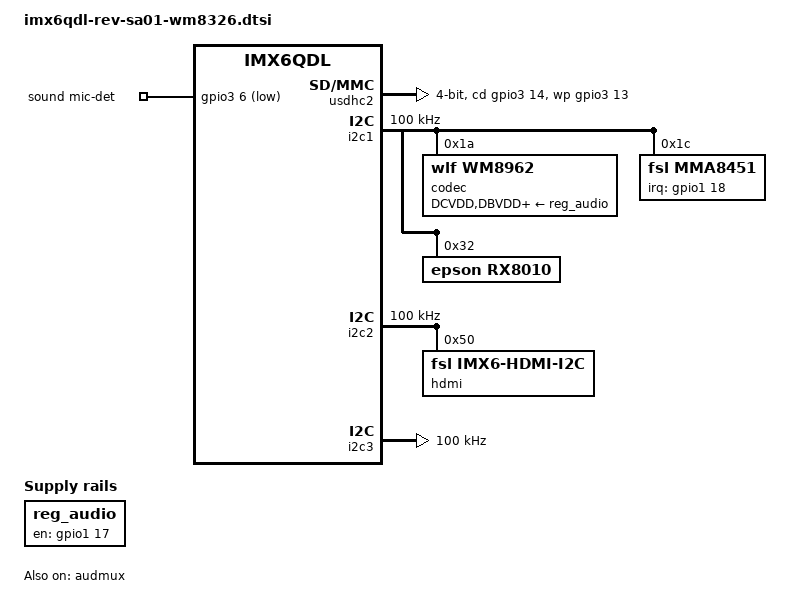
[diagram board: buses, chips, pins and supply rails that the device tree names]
/ {
	regulators {
		reg_audio: wm8962_supply {
			compatible = "regulator-fixed";
			regulator-name = "wm8962-supply";
			gpio = <&gpio1 17 0>;
			enable-active-high;
		};
	};

	sound {
		compatible =	"fsl,imx6q-sabresd-wm8962",
				"fsl,imx-audio-wm8962";
		model = "wm8962-audio";
		cpu-dai = <&ssi2>;
		audio-codec = <&codec>;
		audio-routing =
			"Headphone Jack", "HPOUTL",
			"Headphone Jack", "HPOUTR",
			"Ext Spk", "SPKOUTL",
			"Ext Spk", "SPKOUTR",
			"MICBIAS", "AMIC",
			"IN3R", "MICBIAS",
			"DMIC", "MICBIAS",
			"DMICDAT", "DMIC";
			mux-int-port = <2>;
			mux-ext-port = <3>;
			mic-det-gpios = <&gpio3 6 1>;
	};
};

&audmux {
	pinctrl-names = "default";
	pinctrl-0 = <&pinctrl_audmux>;
	status = "okay";
};

&usdhc2 {
	pinctrl-names = "default";
	pinctrl-0 = <&pinctrl_usdhc2>;
	bus-width = <4>;
	cd-gpios = <&gpio3 14 0>;
	wp-gpios = <&gpio3 13 0>;
	no-1-8-v;
	keep-power-in-suspend;
	enable-sdio-wakeup;
	status = "okay";
};

&i2c1 {
	clock-frequency = <100000>;
        pinctrl-names = "default";
        pinctrl-0 = <&pinctrl_i2c1>;
        status = "okay";

	codec: wm8962@1a {
		compatible = "wlf,wm8962";
		reg = <0x1a>;
		clocks = <&clks 201>;
		DCVDD-supply = <&reg_audio>;
		DBVDD-supply = <&reg_audio>;
		AVDD-supply = <&reg_audio>;
		CPVDD-supply = <&reg_audio>;
		MICVDD-supply = <&reg_audio>;
		PLLVDD-supply = <&reg_audio>;
		SPKVDD1-supply = <&reg_audio>;
		SPKVDD2-supply = <&reg_audio>;
		amic-mono;
		gpio-cfg = <
			0x0000 /* 0:Default */
			0x0000 /* 1:Default */
			0x0013 /* 2:FN_DMICCLK */
			0x0000 /* 3:Default */
			0x8014 /* 4:FN_DMICCDAT */
			0x0000 /* 5:Default */
		>;
	};

	mma8451@1c {
		compatible = "fsl,mma8451";
		reg = <0x1c>;
		position = <0>;
		interrupt-parent = <&gpio1>;
		interrupts = <18 8>;
		interrupt-route = <1>;
	};

	rx8010@32 {
		compatible = "epson,rx8010";
		reg = <0x32>;
	};
};

&i2c2 {
	clock-frequency = <100000>;
	pinctrl-names = "default";
	pinctrl-0 = <&pinctrl_i2c2>;
	status = "okay";

	hdmi: edid@50 {
		compatible = "fsl,imx6-hdmi-i2c";
		reg = <0x50>;
	};
};

&i2c3 {
        clock-frequency = <100000>;
        pinctrl-names = "default";
        pinctrl-0 = <&pinctrl_i2c3>;
        status = "okay";
};
